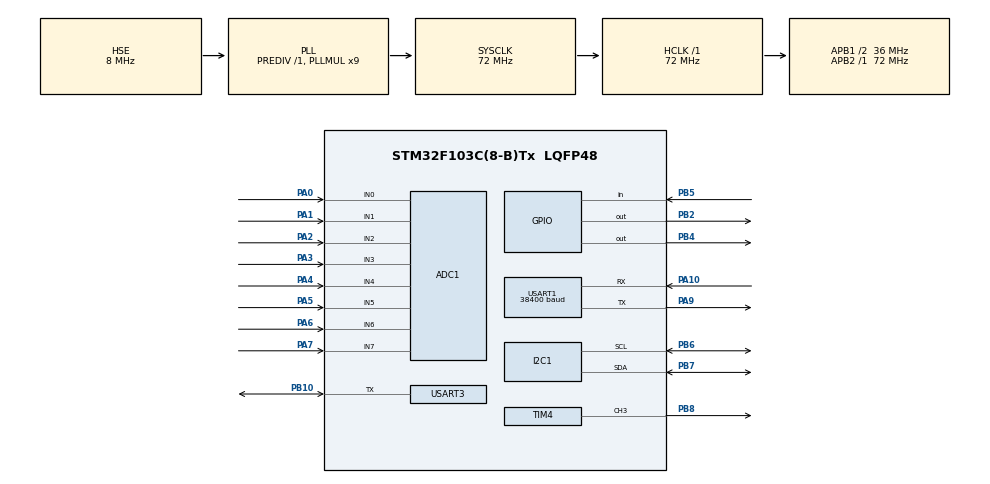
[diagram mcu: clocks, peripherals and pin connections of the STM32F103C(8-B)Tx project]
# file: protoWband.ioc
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ADC1.Channel-1\#ChannelRegularConversion=ADC_CHANNEL_1
ADC1.Channel-2\#ChannelRegularConversion=ADC_CHANNEL_2
ADC1.Channel-3\#ChannelRegularConversion=ADC_CHANNEL_3
ADC1.Channel-4\#ChannelRegularConversion=ADC_CHANNEL_4
ADC1.Channel-5\#ChannelRegularConversion=ADC_CHANNEL_5
ADC1.Channel-6\#ChannelRegularConversion=ADC_CHANNEL_6
ADC1.Channel-7\#ChannelRegularConversion=ADC_CHANNEL_7
ADC1.ExternalTrigConv=ADC_EXTERNALTRIGCONV_T3_TRGO
ADC1.ExternalTrigConvEdgeChoice=RISING
ADC1.NbrOfConversion=8
ADC1.NbrOfConversionFlag=1
ADC1.Rank-1\#ChannelRegularConversion=2
ADC1.Rank-2\#ChannelRegularConversion=3
ADC1.Rank-3\#ChannelRegularConversion=4
ADC1.Rank-4\#ChannelRegularConversion=5
ADC1.Rank-5\#ChannelRegularConversion=6
ADC1.Rank-6\#ChannelRegularConversion=7
ADC1.Rank-7\#ChannelRegularConversion=8
ADC1.master=1
Dma.ADC1.0.Direction=DMA_PERIPH_TO_MEMORY
Dma.ADC1.0.Instance=DMA1_Channel1
Dma.ADC1.0.MemDataAlignment=DMA_MDATAALIGN_HALFWORD
Dma.ADC1.0.MemInc=DMA_MINC_ENABLE
Dma.ADC1.0.Mode=DMA_CIRCULAR
Dma.ADC1.0.PeriphDataAlignment=DMA_PDATAALIGN_HALFWORD
Dma.ADC1.0.PeriphInc=DMA_PINC_DISABLE
Dma.ADC1.0.Priority=DMA_PRIORITY_LOW
Dma.Request0=ADC1
Dma.Request1=USART1_TX
Dma.Request2=USART3_RX
Dma.Request3=USART3_TX
Dma.USART1_TX.1.Direction=DMA_MEMORY_TO_PERIPH
Dma.USART1_TX.1.Instance=DMA1_Channel4
Dma.USART1_TX.1.MemDataAlignment=DMA_MDATAALIGN_BYTE
Dma.USART1_TX.1.MemInc=DMA_MINC_ENABLE
Dma.USART1_TX.1.Mode=DMA_NORMAL
Dma.USART1_TX.1.PeriphDataAlignment=DMA_PDATAALIGN_BYTE
Dma.USART1_TX.1.PeriphInc=DMA_PINC_DISABLE
Dma.USART1_TX.1.Priority=DMA_PRIORITY_LOW
Dma.USART3_RX.2.Direction=DMA_PERIPH_TO_MEMORY
Dma.USART3_RX.2.Instance=DMA1_Channel3
Dma.USART3_RX.2.MemDataAlignment=DMA_MDATAALIGN_BYTE
Dma.USART3_RX.2.MemInc=DMA_MINC_ENABLE
Dma.USART3_RX.2.Mode=DMA_NORMAL
Dma.USART3_RX.2.PeriphDataAlignment=DMA_PDATAALIGN_BYTE
Dma.USART3_RX.2.PeriphInc=DMA_PINC_DISABLE
Dma.USART3_RX.2.Priority=DMA_PRIORITY_LOW
Dma.USART3_TX.3.Direction=DMA_MEMORY_TO_PERIPH
Dma.USART3_TX.3.Instance=DMA1_Channel2
Dma.USART3_TX.3.MemDataAlignment=DMA_MDATAALIGN_BYTE
Dma.USART3_TX.3.MemInc=DMA_MINC_ENABLE
Dma.USART3_TX.3.Mode=DMA_NORMAL
Dma.USART3_TX.3.PeriphDataAlignment=DMA_PDATAALIGN_BYTE
Dma.USART3_TX.3.PeriphInc=DMA_PINC_DISABLE
Dma.USART3_TX.3.Priority=DMA_PRIORITY_LOW
FREERTOS.HEAP_NUMBER=2
FREERTOS.Tasks01=defaultTask,0,128,StartDefaultTask;myTask02,0,128,StartTask02
I2C1.DutyCycle=I2C_DUTYCYCLE_16_9
I2C1.I2C_Mode=I2C_Fast
Mcu.Family=STM32F1
Mcu.Name=STM32F103C(8-B)Tx
Mcu.Package=LQFP48
NVIC.DMA1_Channel1_IRQn=true\:5\:0\:false
NVIC.DMA1_Channel2_IRQn=true\:5\:0\:false
NVIC.DMA1_Channel3_IRQn=true\:5\:0\:false
NVIC.DMA1_Channel4_IRQn=true\:5\:0\:false
NVIC.PriorityGroup=NVIC_PRIORITYGROUP_4
NVIC.USART1_IRQn=true\:5\:0\:false
PA0-WKUP.Signal=ADCx_IN0
PA1.Signal=ADCx_IN1
PA10.Mode=Asynchronous
PA10.Signal=USART1_RX
PA13.Mode=Serial_Wire
PA13.Signal=SYS_JTMS-SWDIO
PA14.Mode=Serial_Wire
PA14.Signal=SYS_JTCK-SWCLK
PA2.Signal=ADCx_IN2
PA3.Signal=ADCx_IN3
PA4.Signal=ADCx_IN4
PA5.Signal=ADCx_IN5
PA6.Signal=ADCx_IN6
PA7.Signal=ADCx_IN7
PA9.Mode=Asynchronous
PA9.Signal=USART1_TX
PB10.Mode=Half_duplex(single_wire_mode)
PB10.Signal=USART3_TX
PB2.Signal=GPIO_Output
PB4.Signal=GPIO_Output
PB5.Signal=GPIO_Input
PB6.Mode=I2C
PB6.Signal=I2C1_SCL
PB7.Mode=I2C
PB7.Signal=I2C1_SDA
PB8.GPIO_ModeDefaultPP=GPIO_MODE_AF_PP
PB8.GPIO_Speed=GPIO_SPEED_HIGH
PB8.Signal=S_TIM4_CH3
PC14-OSC32_IN.Mode=LSE-External-Oscillator
PC14-OSC32_IN.Signal=RCC_OSC32_IN
PC15-OSC32_OUT.Mode=LSE-External-Oscillator
PC15-OSC32_OUT.Signal=RCC_OSC32_OUT
PD0-OSC_IN.Mode=HSE-External-Oscillator
PD0-OSC_IN.Signal=RCC_OSC_IN
PD1-OSC_OUT.Mode=HSE-External-Oscillator
PD1-OSC_OUT.Signal=RCC_OSC_OUT
ProjectManager.TargetToolchain=TrueSTUDIO
RCC.ADCPresc=RCC_ADCPCLK2_DIV6
RCC.AHBFreq_Value=72000000
RCC.APB1CLKDivider=RCC_HCLK_DIV2
RCC.APB1Freq_Value=36000000
RCC.APB1TimFreq_Value=72000000
RCC.APB2Freq_Value=72000000
RCC.APB2TimFreq_Value=72000000
RCC.HCLKFreq_Value=72000000
RCC.HSIState=RCC_HSI_ON
RCC.PLLMUL=RCC_PLL_MUL9
RCC.PLLSourceVirtual=RCC_PLLSOURCE_HSE
RCC.SYSCLKFreq_VALUE=72000000
RCC.SYSCLKSource=RCC_SYSCLKSOURCE_PLLCLK
RCC.USBFreq_Value=72000000
SH.ADCx_IN0.0=ADC1_IN0,IN0
SH.ADCx_IN1.0=ADC1_IN1,IN1
SH.ADCx_IN2.0=ADC1_IN2,IN2
SH.ADCx_IN3.0=ADC1_IN3,IN3
SH.ADCx_IN4.0=ADC1_IN4,IN4
SH.ADCx_IN5.0=ADC1_IN5,IN5
SH.ADCx_IN6.0=ADC1_IN6,IN6
SH.ADCx_IN7.0=ADC1_IN7,IN7
SH.S_TIM4_CH3.0=TIM4_CH3,PWM Generation3 CH3
TIM3.Period=9999
TIM3.Prescaler=71
TIM3.TIM_MasterOutputTrigger=TIM_TRGO_UPDATE
TIM4.Channel-PWM\ Generation3\ CH3=TIM_CHANNEL_3
TIM4.CounterMode=TIM_COUNTERMODE_UP
TIM4.OCFastMode_PWM-PWM\ Generation3\ CH3=TIM_OCFAST_ENABLE
TIM4.OCMode_PWM-PWM\ Generation3\ CH3=TIM_OCMODE_PWM1
TIM4.Period=0xFFFF
TIM4.Prescaler=5
TIM4.Pulse-PWM\ Generation3\ CH3=0x7FFF
TIM4.TIM_MasterSlaveMode=TIM_MASTERSLAVEMODE_ENABLE
USART1.BaudRate=38400
VP_FREERTOS_VS_ENABLE.Mode=Enabled
VP_RTC_No_RTC_Output.Mode=RTC OUT
VP_TIM3_VS_ClockSourceINT.Mode=Internal
board=protoWband

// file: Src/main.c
/**
  ******************************************************************************
  * File Name          : main.c
  * Description        : Main program body
  ******************************************************************************
  *
  * COPYRIGHT(c) 2015 STMicroelectronics
  *
  * Redistribution and use in source and binary forms, with or without modification,
  * are permitted provided that the following conditions are met:
  *   1. Redistributions of source code must retain the above copyright notice,
  *      this list of conditions and the following disclaimer.
  *   2. Redistributions in binary form must reproduce the above copyright notice,
  *      this list of conditions and the following disclaimer in the documentation
  *      and/or other materials provided with the distribution.
  *   3. Neither the name of STMicroelectronics nor the names of its contributors
  *      may be used to endorse or promote products derived from this software
  *      without specific prior written permission.
  *
  * THIS SOFTWARE IS PROVIDED BY THE COPYRIGHT HOLDERS AND CONTRIBUTORS "AS IS"
  * AND ANY EXPRESS OR IMPLIED WARRANTIES, INCLUDING, BUT NOT LIMITED TO, THE
  * IMPLIED WARRANTIES OF MERCHANTABILITY AND FITNESS FOR A PARTICULAR PURPOSE ARE
  * DISCLAIMED. IN NO EVENT SHALL THE COPYRIGHT HOLDER OR CONTRIBUTORS BE LIABLE
  * FOR ANY DIRECT, INDIRECT, INCIDENTAL, SPECIAL, EXEMPLARY, OR CONSEQUENTIAL
  * DAMAGES (INCLUDING, BUT NOT LIMITED TO, PROCUREMENT OF SUBSTITUTE GOODS OR
  * SERVICES; LOSS OF USE, DATA, OR PROFITS; OR BUSINESS INTERRUPTION) HOWEVER
  * CAUSED AND ON ANY THEORY OF LIABILITY, WHETHER IN CONTRACT, STRICT LIABILITY,
  * OR TORT (INCLUDING NEGLIGENCE OR OTHERWISE) ARISING IN ANY WAY OUT OF THE USE
  * OF THIS SOFTWARE, EVEN IF ADVISED OF THE POSSIBILITY OF SUCH DAMAGE.
  *
  ******************************************************************************
  */
#include "stm32f1xx_hal.h"
#include "cmsis_os.h"

/* USER CODE BEGIN Includes */
#include "gyroW.h"
#include "onewire.h"
#include "Signal_management.h"
/* USER CODE END Includes */

ADC_HandleTypeDef hadc1;
DMA_HandleTypeDef hdma_adc1;

I2C_HandleTypeDef hi2c1;

RTC_HandleTypeDef hrtc;

TIM_HandleTypeDef htim3;
TIM_HandleTypeDef htim4;

UART_HandleTypeDef huart1;
UART_HandleTypeDef huart3;
DMA_HandleTypeDef hdma_usart1_tx;
DMA_HandleTypeDef hdma_usart3_rx;
DMA_HandleTypeDef hdma_usart3_tx;

osThreadId defaultTaskHandle;
osThreadId myTask02Handle;

/* USER CODE BEGIN PV */
/* Private variables ---------------------------------------------------------*/
#define ADCCONVERTEDVALUES_BUFFER_SIZE ((uint32_t)  8)//this value must be odd

#define ACCUM_BUFFER_SIZE ((uint32_t)  (12*10))//this value must be odd

struct mainBufferstr {
__IO uint16_t   aADCxConvertedValues[ADCCONVERTEDVALUES_BUFFER_SIZE];
__IO uint16_t   ACCUM_Values[ACCUM_BUFFER_SIZE];
}mainBuffer;

/* USER CODE END PV */

void SystemClock_Config(void);
static void MX_GPIO_Init(void);
static void MX_DMA_Init(void);
static void MX_ADC1_Init(void);
static void MX_I2C1_Init(void);
static void MX_RTC_Init(void);
static void MX_TIM3_Init(void);
static void MX_TIM4_Init(void);
static void MX_USART1_UART_Init(void);
static void MX_USART3_UART_Init(void);
void StartDefaultTask(void const * argument);
void StartTask02(void const * argument);

/* USER CODE BEGIN PFP */
/* Private function prototypes -----------------------------------------------*/

/* USER CODE END PFP */

/* USER CODE BEGIN 0 */
volatile int accel=555;
volatile int mut, gyroUpdRq=1;
uint8_t buf[2]={55,55};
uint8_t bufOutT[2]={77,77};

SgMnStTypeDef sigManstr={.PwmSkSt=init_pwm_seek_step, .green_zone_l = (4095-green_zone)/2, .green_zone_h=(4095+green_zone)/2, \
.pwm = 0, .past_pos=in, .adc_val=2000};

void Error_Handler(void){while(1);}

void HAL_ADC_ConvCpltCallback(ADC_HandleTypeDef* hadc){
    static int a=0;
    switch (mut){
        case 0: break;
        case 1: if (a<ACCUM_BUFFER_SIZE/2) while(1);break;
        case 2: if (a>=ACCUM_BUFFER_SIZE/2) while(1);break;
        default : while(1);break;
    }

    //for (int i=0;(ADCCONVERTEDVALUES_BUFFER_SIZE/2)>i;i++,a++) *(((uint32_t*)mainBuffer.ACCUM_Values)+a)=*(((uint32_t*)mainBuffer.aADCxConvertedValues)+i);
    for (int i=0;(ADCCONVERTEDVALUES_BUFFER_SIZE)>i;i++,a++) mainBuffer.ACCUM_Values[a]=mainBuffer.aADCxConvertedValues[i];

    mainBuffer.ACCUM_Values[a++]=*((uint16_t*)buf);
    mainBuffer.ACCUM_Values[a++]=*((uint16_t*)bufOutT);
    mainBuffer.ACCUM_Values[a++]=sigManstr.pwm;
    mainBuffer.ACCUM_Values[a++]=accel;

    if (a==ACCUM_BUFFER_SIZE/2){
        mut=1;
        HAL_UART_Transmit_DMA(&huart1, (uint8_t*) mainBuffer.ACCUM_Values, (uint16_t) ACCUM_BUFFER_SIZE);
        return;
    }
    if (a==ACCUM_BUFFER_SIZE){
        sigManstr.adc_val = mainBuffer.aADCxConvertedValues[1];
        mut=2;
        HAL_UART_Transmit_DMA(&huart1, (uint8_t*) mainBuffer.ACCUM_Values+ACCUM_BUFFER_SIZE, (uint16_t) ACCUM_BUFFER_SIZE);
        a=0;

    }
}

void HAL_UART_TxCpltCallback(UART_HandleTypeDef *huart)
{
    mut=0;
}

#define RXBUFFERSIZE 8

typedef struct {
  volatile int isPctRd;
  uint8_t utBfr[RXBUFFERSIZE];
  uint8_t pacLen;

}uartPack ;
uartPack uart1Pack;
#define termChr 'z'
extern int glob_evel;
void HAL_UART_RxCpltCallback(UART_HandleTypeDef *huart)
{
  if(huart->Instance==USART1) uart1Pack.isPctRd=1;
  if(huart->Instance==USART3) glob_evel=1;

  /*uint16_t* tmp;
  static uint32_t cntI;
  tmp = (uint16_t*) huart->pRxBuffPtr;
  if (uart1Pack.isPctRd) while(1);
  if (termChr==*tmp){
    uart1Pack.isPctRd=1;
    uart1Pack.pacLen=cntI;
    cntI=0;

  }
  else uart1Pack.utBfr[cntI++]=*tmp;
  if(cntI>7) while(1);*/
}
/* USER CODE END 0 */

int main(void)
{

  /* MCU Configuration----------------------------------------------------------*/

  /* Reset of all peripherals, Initializes the Flash interface and the Systick. */
  HAL_Init();

  /* Configure the system clock */
  SystemClock_Config();

  /* Initialize all configured peripherals */
  MX_GPIO_Init();
  MX_DMA_Init();
  MX_ADC1_Init();
  MX_I2C1_Init();
  MX_RTC_Init();
  MX_TIM3_Init();
  MX_TIM4_Init();
  MX_USART1_UART_Init();
  MX_USART3_UART_Init();

  /* USER CODE BEGIN 2 */
  HAL_Delay(500);
  /*## Start ADC conversions #################################################*/

  /* Start ADC conversion on regular group with transfer by DMA */
  if (HAL_ADC_Start_DMA(&hadc1,
                        (uint32_t *)mainBuffer.aADCxConvertedValues,
                        ADCCONVERTEDVALUES_BUFFER_SIZE
                       ) != HAL_OK)
  {
    /* Start Error */
    //Error_Handler();
    while (1);
  }
  gyro_start();
  gyro_init();

  //HAL_TIM_Base_Start(&htim4);
    HAL_TIM_PWM_Start(&htim4, TIM_CHANNEL_3);

  //HAL_TIM_GenerateEvent(&htim4,TIM_EVENTSOURCE_CC4);
  //HAL_TIM_Base_Start(&htim3);
  /* USER CODE END 2 */

  /* Create the thread(s) */
  /* definition and creation of defaultTask */
  osThreadDef(defaultTask, StartDefaultTask, osPriorityNormal, 0, 128);
  defaultTaskHandle = osThreadCreate(osThread(defaultTask), NULL);

  /* definition and creation of myTask02 */
  osThreadDef(myTask02, StartTask02, osPriorityNormal, 0, 128);
  myTask02Handle = osThreadCreate(osThread(myTask02), NULL);

  /* Start scheduler */
  osKernelStart();

  /* We should never get here as control is now taken by the scheduler */

  /* Infinite loop */
  while (1)
  {

  }

}

/** System Clock Configuration
*/
void SystemClock_Config(void)
{

  RCC_OscInitTypeDef RCC_OscInitStruct;
  RCC_ClkInitTypeDef RCC_ClkInitStruct;
  RCC_PeriphCLKInitTypeDef PeriphClkInit;

  RCC_OscInitStruct.OscillatorType = RCC_OSCILLATORTYPE_LSI|RCC_OSCILLATORTYPE_HSE;
  RCC_OscInitStruct.HSEState = RCC_HSE_ON;
  RCC_OscInitStruct.HSEPredivValue = RCC_HSE_PREDIV_DIV1;
  RCC_OscInitStruct.LSIState = RCC_LSI_ON;
  RCC_OscInitStruct.PLL.PLLState = RCC_PLL_ON;
  RCC_OscInitStruct.PLL.PLLSource = RCC_PLLSOURCE_HSE;
  RCC_OscInitStruct.PLL.PLLMUL = RCC_PLL_MUL9;
  HAL_RCC_OscConfig(&RCC_OscInitStruct);

  RCC_ClkInitStruct.ClockType = RCC_CLOCKTYPE_SYSCLK|RCC_CLOCKTYPE_PCLK1;
  RCC_ClkInitStruct.SYSCLKSource = RCC_SYSCLKSOURCE_PLLCLK;
  RCC_ClkInitStruct.AHBCLKDivider = RCC_SYSCLK_DIV1;
  RCC_ClkInitStruct.APB1CLKDivider = RCC_HCLK_DIV2;
  RCC_ClkInitStruct.APB2CLKDivider = RCC_HCLK_DIV1;
  HAL_RCC_ClockConfig(&RCC_ClkInitStruct, FLASH_LATENCY_2);

  PeriphClkInit.PeriphClockSelection = RCC_PERIPHCLK_RTC|RCC_PERIPHCLK_ADC;
  PeriphClkInit.RTCClockSelection = RCC_RTCCLKSOURCE_LSI;
  PeriphClkInit.AdcClockSelection = RCC_ADCPCLK2_DIV6;
  HAL_RCCEx_PeriphCLKConfig(&PeriphClkInit);

  HAL_SYSTICK_Config(HAL_RCC_GetHCLKFreq()/1000);

  HAL_SYSTICK_CLKSourceConfig(SYSTICK_CLKSOURCE_HCLK);

}

/* ADC1 init function */
void MX_ADC1_Init(void)
{

  ADC_ChannelConfTypeDef sConfig;

    /**Common config
    */
  hadc1.Instance = ADC1;
  hadc1.Init.ScanConvMode = ADC_SCAN_ENABLE;
  hadc1.Init.ContinuousConvMode = DISABLE;
  hadc1.Init.DiscontinuousConvMode = DISABLE;
  hadc1.Init.ExternalTrigConv = ADC_EXTERNALTRIGCONV_T3_TRGO;
  hadc1.Init.DataAlign = ADC_DATAALIGN_RIGHT;
  hadc1.Init.NbrOfConversion = 8;
  HAL_ADC_Init(&hadc1);

    /**Configure Regular Channel
    */
  sConfig.Channel = ADC_CHANNEL_1;
  sConfig.Rank = 2;
  sConfig.SamplingTime = ADC_SAMPLETIME_1CYCLE_5;
  HAL_ADC_ConfigChannel(&hadc1, &sConfig);

    /**Configure Regular Channel
    */
  sConfig.Channel = ADC_CHANNEL_2;
  sConfig.Rank = 3;
  HAL_ADC_ConfigChannel(&hadc1, &sConfig);

    /**Configure Regular Channel
    */
  sConfig.Channel = ADC_CHANNEL_3;
  sConfig.Rank = 4;
  HAL_ADC_ConfigChannel(&hadc1, &sConfig);

    /**Configure Regular Channel
    */
  sConfig.Channel = ADC_CHANNEL_4;
  sConfig.Rank = 5;
  HAL_ADC_ConfigChannel(&hadc1, &sConfig);

    /**Configure Regular Channel
    */
  sConfig.Channel = ADC_CHANNEL_5;
  sConfig.Rank = 6;
  HAL_ADC_ConfigChannel(&hadc1, &sConfig);

    /**Configure Regular Channel
    */
  sConfig.Channel = ADC_CHANNEL_6;
  sConfig.Rank = 7;
  HAL_ADC_ConfigChannel(&hadc1, &sConfig);

    /**Configure Regular Channel
    */
  sConfig.Channel = ADC_CHANNEL_7;
  sConfig.Rank = 8;
  HAL_ADC_ConfigChannel(&hadc1, &sConfig);

}

/* I2C1 init function */
void MX_I2C1_Init(void)
{

  hi2c1.Instance = I2C1;
  hi2c1.Init.ClockSpeed = 400000;
  hi2c1.Init.DutyCycle = I2C_DUTYCYCLE_16_9;
  hi2c1.Init.OwnAddress1 = 0;
  hi2c1.Init.AddressingMode = I2C_ADDRESSINGMODE_7BIT;
  hi2c1.Init.DualAddressMode = I2C_DUALADDRESS_DISABLED;
  hi2c1.Init.OwnAddress2 = 0;
  hi2c1.Init.GeneralCallMode = I2C_GENERALCALL_DISABLED;
  hi2c1.Init.NoStretchMode = I2C_NOSTRETCH_DISABLED;
  HAL_I2C_Init(&hi2c1);

}

/* RTC init function */
void MX_RTC_Init(void)
{

  RTC_TimeTypeDef sTime;
  RTC_DateTypeDef DateToUpdate;

    /**Initialize RTC and set the Time and Date
    */
  hrtc.Instance = RTC;
  hrtc.Init.AsynchPrediv = RTC_AUTO_1_SECOND;
  hrtc.Init.OutPut = RTC_OUTPUTSOURCE_NONE;
  hrtc.DateToUpdate.WeekDay = RTC_WEEKDAY_MONDAY;
  hrtc.DateToUpdate.Month = RTC_MONTH_JANUARY;
  hrtc.DateToUpdate.Date = 1;
  hrtc.DateToUpdate.Year = 0;
  HAL_RTC_Init(&hrtc);

  sTime.Hours = 0;
  sTime.Minutes = 0;
  sTime.Seconds = 0;
  HAL_RTC_SetTime(&hrtc, &sTime, FORMAT_BCD);

  HAL_RTC_SetDate(&hrtc, &DateToUpdate, FORMAT_BCD);

}

/* TIM3 init function */
void MX_TIM3_Init(void)
{

  TIM_ClockConfigTypeDef sClockSourceConfig;
  TIM_MasterConfigTypeDef sMasterConfig;

  htim3.Instance = TIM3;
  htim3.Init.Prescaler = 71;
  htim3.Init.CounterMode = TIM_COUNTERMODE_UP;
  htim3.Init.Period = 9999;
  htim3.Init.ClockDivision = TIM_CLOCKDIVISION_DIV1;
  HAL_TIM_Base_Init(&htim3);

  sClockSourceConfig.ClockSource = TIM_CLOCKSOURCE_INTERNAL;
  HAL_TIM_ConfigClockSource(&htim3, &sClockSourceConfig);

  sMasterConfig.MasterOutputTrigger = TIM_TRGO_UPDATE;
  sMasterConfig.MasterSlaveMode = TIM_MASTERSLAVEMODE_DISABLE;
  HAL_TIMEx_MasterConfigSynchronization(&htim3, &sMasterConfig);

}

/* TIM4 init function */
void MX_TIM4_Init(void)
{

  TIM_MasterConfigTypeDef sMasterConfig;
  TIM_OC_InitTypeDef sConfigOC;

  htim4.Instance = TIM4;
  htim4.Init.Prescaler = 5;
  htim4.Init.CounterMode = TIM_COUNTERMODE_UP;
  htim4.Init.Period = 0xFFFF;
  htim4.Init.ClockDivision = TIM_CLOCKDIVISION_DIV1;
  HAL_TIM_PWM_Init(&htim4);

  sMasterConfig.MasterOutputTrigger = TIM_TRGO_RESET;
  sMasterConfig.MasterSlaveMode = TIM_MASTERSLAVEMODE_ENABLE;
  HAL_TIMEx_MasterConfigSynchronization(&htim4, &sMasterConfig);

  sConfigOC.OCMode = TIM_OCMODE_PWM1;
  sConfigOC.Pulse = 0x0;
  sConfigOC.OCPolarity = TIM_OCPOLARITY_HIGH;
  sConfigOC.OCFastMode = TIM_OCFAST_ENABLE;
  HAL_TIM_PWM_ConfigChannel(&htim4, &sConfigOC, TIM_CHANNEL_3);

}

/* USART1 init function */
void MX_USART1_UART_Init(void)
{

  huart1.Instance = USART1;
  huart1.Init.BaudRate = 38400;
  huart1.Init.WordLength = UART_WORDLENGTH_8B;
  huart1.Init.StopBits = UART_STOPBITS_1;
  huart1.Init.Parity = UART_PARITY_NONE;
  huart1.Init.Mode = UART_MODE_TX_RX;
  huart1.Init.HwFlowCtl = UART_HWCONTROL_NONE;
  huart1.Init.OverSampling = UART_OVERSAMPLING_16;
  HAL_UART_Init(&huart1);

}

/* USART3 init function */
void MX_USART3_UART_Init(void)
{

  huart3.Instance = USART3;
  huart3.Init.BaudRate = 115200;
  huart3.Init.WordLength = UART_WORDLENGTH_8B;
  huart3.Init.StopBits = UART_STOPBITS_1;
  huart3.Init.Parity = UART_PARITY_NONE;
  huart3.Init.Mode = UART_MODE_TX_RX;
  huart3.Init.HwFlowCtl = UART_HWCONTROL_NONE;
  huart3.Init.OverSampling = UART_OVERSAMPLING_16;
  HAL_HalfDuplex_Init(&huart3);

}

void MX_DMA_Init(void)
{
  /* DMA controller clock enable */
  __HAL_RCC_DMA1_CLK_ENABLE();

  /* DMA interrupt init */
  HAL_NVIC_SetPriority(DMA1_Channel1_IRQn, 5, 0);
  HAL_NVIC_EnableIRQ(DMA1_Channel1_IRQn);
  HAL_NVIC_SetPriority(DMA1_Channel2_IRQn, 5, 0);
  HAL_NVIC_EnableIRQ(DMA1_Channel2_IRQn);
  HAL_NVIC_SetPriority(DMA1_Channel3_IRQn, 5, 0);
  HAL_NVIC_EnableIRQ(DMA1_Channel3_IRQn);
  HAL_NVIC_SetPriority(DMA1_Channel4_IRQn, 5, 0);
  HAL_NVIC_EnableIRQ(DMA1_Channel4_IRQn);

}

/** Configure pins as
        * Analog
        * Input
        * Output
        * EVENT_OUT
        * EXTI
*/
void MX_GPIO_Init(void)
{

  GPIO_InitTypeDef GPIO_InitStruct;

  /* GPIO Ports Clock Enable */
  __GPIOC_CLK_ENABLE();
  __GPIOD_CLK_ENABLE();
  __GPIOA_CLK_ENABLE();
  __GPIOB_CLK_ENABLE();

  /*Configure GPIO pins : PB2 PB4 */
  GPIO_InitStruct.Pin = GPIO_PIN_2|GPIO_PIN_4;
  GPIO_InitStruct.Mode = GPIO_MODE_OUTPUT_PP;
  GPIO_InitStruct.Speed = GPIO_SPEED_LOW;
  HAL_GPIO_Init(GPIOB, &GPIO_InitStruct);

  /*Configure GPIO pin : PB5 */
  GPIO_InitStruct.Pin = GPIO_PIN_5;
  GPIO_InitStruct.Mode = GPIO_MODE_INPUT;
  GPIO_InitStruct.Pull = GPIO_NOPULL;
  HAL_GPIO_Init(GPIOB, &GPIO_InitStruct);

}

/* USER CODE BEGIN 4 */
  #define PYB_I2C_MASTER_ADDRESS (0xfe)
/* USER CODE END 4 */

/* StartDefaultTask function */
void StartDefaultTask(void const * argument)
{

  /* USER CODE BEGIN 5 */
  /* Infinite loop */
  int cnt=0;
  uint8_t adrBuf[8]={0};
  TIM_OC_InitTypeDef sConfigOC;
  sConfigOC.OCMode = TIM_OCMODE_PWM1;
  sConfigOC.Pulse = 0x0;
  sConfigOC.OCPolarity = TIM_OCPOLARITY_HIGH;
  sConfigOC.OCFastMode = TIM_OCFAST_ENABLE;

  for(;;)
  {

    vTaskDelay(10);

    accel=GetAccel();
    cnt++;
    if (!(cnt&0x7f)){//ds1820 communication
      OW_Send(OW_SEND_RESET, (uint8_t *)"\x55\x28\x74\xd5\x6b\x01\x00\x00\x79\xbe\xff\xff", 12, bufOutT,2, 10);
      OW_Send(OW_SEND_RESET, (uint8_t *)"\x55(\x097\x0d8h\x001\x000\x000m\xbe\xff\xff", 12, buf,2, 10);
      OW_Send(OW_SEND_RESET, (uint8_t *)"\x33\xff\xff\xff\xff\xff\xff\xff\xff", 9, adrBuf,8, 1); //addr request when sensor is alone on bus
      OW_Send(OW_SEND_RESET, (uint8_t *)"\xcc\x44", 2, NULL, 0, OW_NO_READ);

    }
    if(!(cnt%sigMnPer)){//base line correction for smart channel
        if (sigMnChk(&sigManstr)){
            pwmProc(&sigManstr);
            sConfigOC.Pulse = sigManstr.pwm;
            HAL_TIM_PWM_Stop(&htim4, TIM_CHANNEL_3);
            HAL_TIM_PWM_ConfigChannel(&htim4, &sConfigOC, TIM_CHANNEL_3);
            HAL_TIM_PWM_Start(&htim4, TIM_CHANNEL_3);
        }

    }

  }
  /* USER CODE END 5 */
}

/* StartTask02 function */
void StartTask02(void const * argument)
{
  /* USER CODE BEGIN StartTask02 */
  /* Infinite loop */
  int bt=0,s=1,mem=0;
void dataOn(void){
    mem=0;
    HAL_TIM_Base_Start(&htim3);
    HAL_GPIO_WritePin(GPIOB, GPIO_PIN_2, SET);
}
void dataOff(void){
    mem=1;
    HAL_TIM_Base_Stop(&htim3);
    HAL_GPIO_WritePin(GPIOB, GPIO_PIN_2, RESET);
}

   if(HAL_UART_Receive_IT(&huart1, (uint8_t *)uart1Pack.utBfr, RXBUFFERSIZE) != HAL_OK)
  {
    Error_Handler();
  }
  for(;;)
  {
        if (HAL_GPIO_ReadPin(GPIOB,GPIO_PIN_5)){
            if(s)bt=1;
            s=0;
        }
        else s=1;

        if (bt){
            bt=0;
            if (mem){

                dataOn();
            }
            else{

                dataOff();
            }
        }
        else{

        }
        if (uart1Pack.isPctRd){
            uart1Pack.isPctRd=0;
            if(HAL_UART_Receive_IT(&huart1, (uint8_t *)uart1Pack.utBfr, RXBUFFERSIZE) != HAL_OK) Error_Handler();

            //int stop ='s'*(1<<24)+'t'*(1<<16)+'o'*(1<<8)+'p', start= 'r'*(1<<24)+'a'*(1<<16)+'t'*(1<<8)+'s', val=(*((uint32_t*)uart1Pack.utBfr));
            switch (*((uint32_t*)uart1Pack.utBfr)){
            case 'r'*(1<<24)+'a'*(1<<16)+'t'*(1<<8)+'s':
                dataOn();
                break;
            case 'p'*(1<<24)+'o'*(1<<16)+'t'*(1<<8)+'s':
                dataOff();
                break;

            }

        }
  }
  /* USER CODE END StartTask02 */
}

/************************ (C) COPYRIGHT STMicroelectronics *****END OF FILE****/
